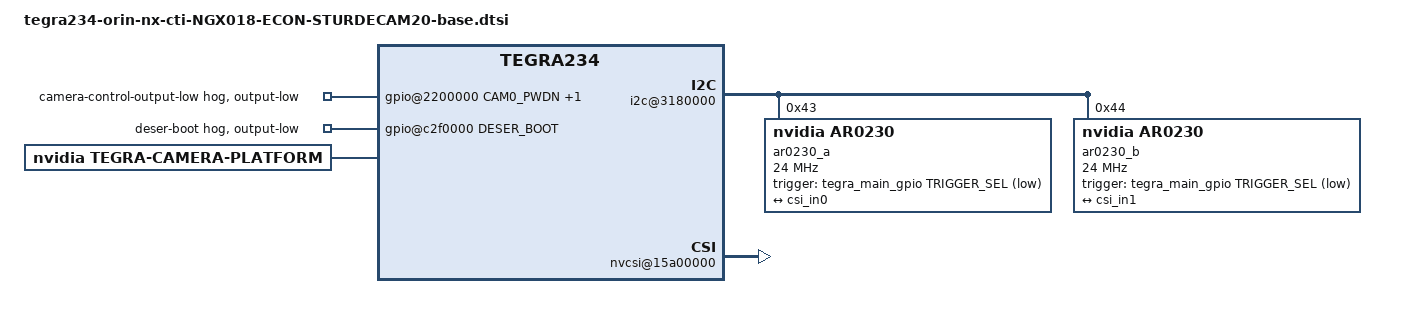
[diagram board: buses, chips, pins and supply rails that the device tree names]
/*
 * Copyright (c) 2022, Connect Tech Inc.  All rights reserved.
 *
 * This program is free software; you can redistribute it and/or modify it
 * under the terms and conditions of the GNU General Public License,
 * version 2, as published by the Free Software Foundation.
 *
 * This program is distributed in the hope it will be useful, but WITHOUT
 * ANY WARRANTY; without even the implied warranty of MERCHANTABILITY or
 * FITNESS FOR A PARTICULAR PURPOSE.  See the GNU General Public License for
 * more details.
 *
 * You should have received a copy of the GNU General Public License
 * along with this program.  If not, see <http://www.gnu.org/licenses/>.
 */

#include "dt-bindings/clock/tegra234-clock.h"

#define CAM_LANES 4
#define CAM_LANES_STRING "4"
#define TRIGGER_SEL TEGRA234_MAIN_GPIO(I,0) //CAM0_RST

#define CAM0_PWDN	TEGRA234_MAIN_GPIO(H, 6)
// trig 	- 	GPIO3 PR.00 	- 	MFP7
// reset 	- 	GPIO3 PQ.05 	- 	MFP8
// boot 	- 	GPIO3 PCC.03 	- 	MFP9
// int 		- 	GPIO3 PCC.01 	- 	MFP10
#define DESER_RESET TEGRA234_MAIN_GPIO(Q, 5)
#define DESER_BOOT  TEGRA234_AON_GPIO(CC, 3)

#define VC_ID0 "1"
#define VC_ID1 "0"
#define VC_ID0_PORTS 1 
#define VC_ID1_PORTS 0
#define MAX929X_AB 1
#define MAX929X_A  0

/ {
    gpio@2200000 {
		status = "okay";
		camera-control-output-low {
			gpio-hog;
			output-low;
			gpios = <CAM0_PWDN 0 DESER_RESET 0>;
			labels = "cam0-pwdn", "deser-reset";
			status = "okay";
		};
	};

	gpio@c2f0000 {
		status = "okay";
		camera-control-output-low-aon {
			gpio-hog;
			output-low;
			gpios = <DESER_BOOT 0>;
			label = "deser-boot";
			status = "okay";
		};
	};

    i2c@3180000 {
        status = "okay";
        #address-cells = <1>;
        #size-cells = <0>;
        ar0230_a@43 {
            status = "okay";
            compatible = "nvidia,ar0230";
            reg = <0x43>;
            sensor_model = "ar0230";
            avdd-reg = "vana";
            iovdd-reg = "vif";
            clocks = <&bpmp TEGRA234_CLK_EXTPERIPH1>,<&bpmp TEGRA234_CLK_EXTPERIPH1>;
            clock-names = "extperiph1","pllp_grtba";
            mclk = "extperiph1";
            clock-frequency = <24000000>;
            trigger-gpios = <&tegra_main_gpio TRIGGER_SEL GPIO_ACTIVE_LOW>;
            default-trigger = "internal";
            devnode = "video0";
            
            use_sensor_mode_id = "false";
            camera_mipi_lanes = <CAM_LANES>;
            camera-mipi-clk = <1200>;
            sio-port = "A";
            port-split = <MAX929X_AB>;

#define LOCAL_VC_ID VC_ID0
#define TEGRA_SINTERFACE "serial_a"
#define LANE_POLARITY "6" //6
#include "nilecam20_cuxvr_mode.dtsi"


            ports {
                #address-cells = <1>;
                #size-cells = <0>;
                
                port@0 {
                    reg = <0>;
                    cam_out0: endpoint {
                        status = "okay";
                        vc-id = <VC_ID0_PORTS>;
                        port-index = <0>;
                        bus-width = <4>;
                        remote-endpoint = <&csi_in0>;
                    };
                };
            };    
        };

        ar0230_b@44 {
            status = "okay";
            compatible = "nvidia,ar0230";
            reg = <0x44>;
            sensor_model = "ar0230";
            avdd-reg = "vana";
            iovdd-reg = "vif";
            clocks = <&bpmp TEGRA234_CLK_EXTPERIPH1>,<&bpmp TEGRA234_CLK_EXTPERIPH1>;
            clock-names = "extperiph1","pllp_grtba";
            mclk = "extperiph1";
            clock-frequency = <24000000>;
            trigger-gpios = <&tegra_main_gpio TRIGGER_SEL GPIO_ACTIVE_LOW>;
            default-trigger = "internal";
            devnode = "video1";
            
            use_sensor_mode_id = "false";
            camera_mipi_lanes = <CAM_LANES>;
            camera-mipi-clk = <1200>;
            sio-port = "B";
            port-split = <MAX929X_AB>;

#undef TEGRA_SINTERFACE
#undef LOCAL_VC_ID
#undef LANE_POLARITY
#define LOCAL_VC_ID VC_ID1
#define TEGRA_SINTERFACE "serial_c"
#define LANE_POLARITY "0" 
#include "nilecam20_cuxvr_mode.dtsi"


            ports {
                #address-cells = <1>;
                #size-cells = <0>;
                
                port@0 {
                    reg = <0>;
                    cam_out1: endpoint {
                        status = "okay";
                        vc-id = <VC_ID1_PORTS>;
                        port-index = <2>;
                        bus-width = <4>;
                        remote-endpoint = <&csi_in1>;
                    };
                };
            };    
        };
    };

    tegra-capture-vi {
        status = "okay";
        num-channels = <2>;
        ports {
        #address-cells = <1>;
        #size-cells = <0>;
        status = "okay";
            port@0 {
                reg = <0>;
                status = "okay";
                vi_in0: endpoint {
                    vc-id = <VC_ID0_PORTS>;
                    port-index = <0>;
                    status = "okay";
                    bus-width = <4>;
                    remote-endpoint = <&csi_out0>;
                };
            };
            port@1 {
                status = "okay";
                reg = <1>;
                vi_in1: endpoint {
                    vc-id = <VC_ID1_PORTS>;
                    port-index = <2>;
                    status = "okay";
                    bus-width = <4>;
                    remote-endpoint = <&csi_out1>;
                };
            };
        };
    };

    host1x@13e00000 {
        nvcsi@15a00000 {
            num-channels = <2>;
            #address-cells = <1>;
            #size-cells = <0>;
            status = "okay";
            channel@0 {
                status = "okay";
                reg = <0>;
                ports {
                    #address-cells = <1>;
                    #size-cells = <0>;
                    port@0 {
                        status = "okay";
                        reg = <0>;
                        csi_in0: endpoint@0 {
                            status = "okay";
                            port-index = <0>;
                            bus-width = <4>;
                            remote-endpoint = <&cam_out0>;
                        };
                    };
                    port@1 {
                        status = "okay";
                        reg = <1>;
                        csi_out0: endpoint@1 {
                            status = "okay";
                            port-index = <0>;
                            bus-width = <4>;
                            remote-endpoint = <&vi_in0>;
                        };
                    };
                };
            };
            channel@1 {
                status = "okay";
                reg = <1>;
                ports {
                    #address-cells = <1>;
                    #size-cells = <0>;
                    port@0 {
                        reg = <0>;
                        status = "okay";
                        csi_in1: endpoint@2 {
                            status = "okay";
                            port-index = <2>;
                            bus-width = <4>;
                            remote-endpoint = <&cam_out1>;
                        };
                    };
                    port@1 {
                        status = "okay";
                        reg = <1>;
                        csi_out1: endpoint@3 {
                            status = "okay";
                            port-index = <2>;
                            bus-width = <4>;
                            remote-endpoint = <&vi_in1>;
                        };
                    };
                };
            };
        };
    };
    tegra-camera-platform {
        num_csi_lanes = <8>;
        max_lane_speed = <1500000>;
        min_bits_per_pixel = <16>;
        vi_peak_byte_per_pixel = <2>;
        vi_bw_margin_pct = <67>;
        isp_peak_byte_per_pixel = <5>;
        isp_bw_margin_pct = <25>;
        compatible = "nvidia, tegra-camera-platform";
        status = "okay";
        
        modules {
            module0 {
                status = "okay";
                badge = "ar0230_a";
                orientation = "1";
                position = "rear1"; 
                 drivernode0 {
                    status = "okay";
                    pcl_id = "v4l2_sensor";
                    devname = "ar0230 2-0043";
                    proc-device-tree = "/proc/device-tree/i2c@3180000/ar0230_a@43";
                };
            };
            module1 {
                status = "okay";
                badge = "ar0230_b";
                orientation = "1";
                position = "rear2"; 
                 drivernode0 {
                    status = "okay";
                    pcl_id = "v4l2_sensor";
                    devname = "ar0230 2-0044";
                    proc-device-tree = "/proc/device-tree/i2c@3180000/ar0230_b@44";
                };
            };
        };
    };
};
